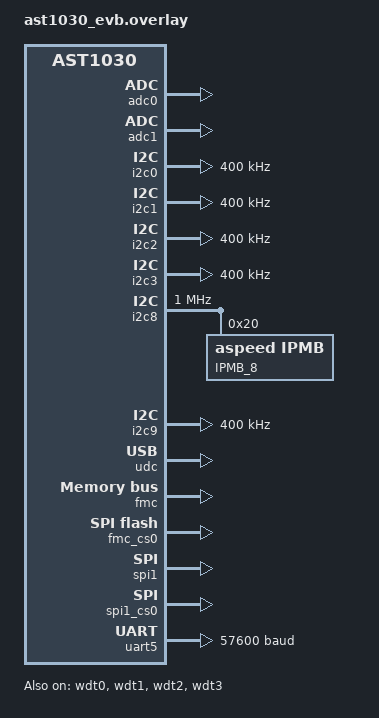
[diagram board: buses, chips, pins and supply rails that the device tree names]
&adc0 {
	status = "okay";
	pinctrl-0 = <&pinctrl_adc0_default &pinctrl_adc1_default
				 &pinctrl_adc2_default &pinctrl_adc6_default 
				 &pinctrl_adc7_default>;
};

&adc1 {
	status = "okay";
	pinctrl-0 = <&pinctrl_adc9_default &pinctrl_adc10_default
				 &pinctrl_adc11_default &pinctrl_adc12_default
				 &pinctrl_adc13_default>;
};

&i2c0 {
	pinctrl-0 = <&pinctrl_i2c0_default>;
	status = "okay";
	clock-frequency = <I2C_BITRATE_FAST>;
};

&i2c1 {
	pinctrl-0 = <&pinctrl_i2c1_default>;
	status = "okay";
	clock-frequency = <I2C_BITRATE_FAST>;
};

&i2c2 {
	pinctrl-0 = <&pinctrl_i2c2_default>;
	status = "okay";
	clock-frequency = <I2C_BITRATE_FAST>;
};

&i2c3 {
	pinctrl-0 = <&pinctrl_i2c3_default>;
	status = "okay";
	clock-frequency = <I2C_BITRATE_FAST>;
};

&i2c8 {
	pinctrl-0 = <&pinctrl_i2c8_default>;
	status = "okay";
	clock-frequency = <I2C_BITRATE_FAST_PLUS>;

	ipmb8: ipmb@20 {
		compatible = "aspeed,ipmb";
		reg = <0x20>;
		label = "IPMB_8";
		size = <10>;
#ifdef CONFIG_I2C_IPMB_SLAVE
		status = "okay";
#endif
	};

};

&i2c9 {
	pinctrl-0 = <&pinctrl_i2c9_default>;
	status = "okay";
	clock-frequency = <I2C_BITRATE_FAST>;
};

&udc {
	status = "okay";
};

&fmc {
	status = "okay";
};

&fmc_cs0 {
	status = "okay";
	spi-max-buswidth = <4>;
	spi-max-frequency = <50000000>;

	partitions {
		compatible = "fixed-partitions";
		#address-cells = <1>;
		#size-cells = <1>;
		boot_partition: partition@0 {
			label = "image-0";
			reg = <0x0 0x100000>;
		};
		dfu_partition: partition@1 {
			label = "image-1";
			reg = <0x0 0x100000>;
		};
	};
};

&spi1 {
	status = "okay";
};

&spi1_cs0 {
	status = "okay";
	spi-max-buswidth = <4>;
	spi-max-frequency = <50000000>;
	re-init-support;
};

&uart5 {
	current-speed = <57600>;
};

&wdt0 {
	status = "okay";
};

&wdt1 {
	status = "okay";
};

&wdt2 {
	status = "okay";
};

&wdt3 {
	status = "okay";
};
